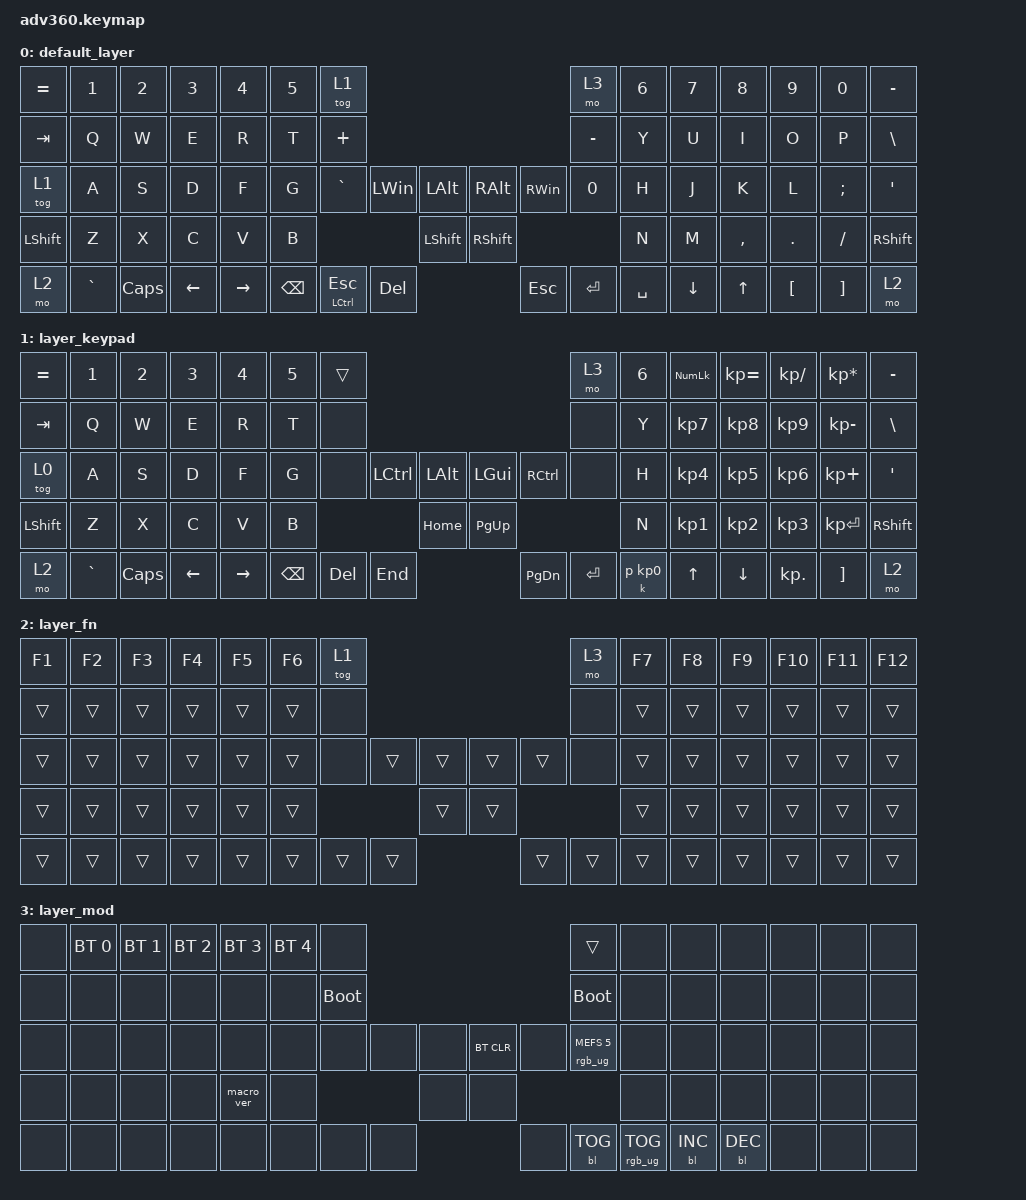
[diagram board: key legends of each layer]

/*
 * Copyright (c) 2020 The ZMK Contributors
 *
 * SPDX-License-Identifier: MIT
 */


/* THIS FILE WAS GENERATED!
 *
 * This file was generated automatically. You may or may not want to
 * edit it directly.
 */

// set syntax=dts

#include <behaviors.dtsi>
#include <dt-bindings/zmk/keys.h>
#include <dt-bindings/zmk/bt.h>
#include <dt-bindings/zmk/rgb.h>
#include <dt-bindings/zmk/backlight.h>

/ {
  behaviors {
    #include "macros.dtsi"
    #include "version.dtsi"

    hm: homerow_mods {
        compatible = "zmk,behavior-hold-tap";
        label = "HOMEROW_MODS";
        #binding-cells = <2>;
        tapping-term-ms = <200>;
        quick_tap_ms = <175>;
        flavor = "tap-preferred";
        bindings = <&kp>, <&kp>;
    };
  };

    keymap {
        compatible = "zmk,keymap";


        default_layer {
            bindings = <
        //|----------|----------|----------|----------|----------|----------|    |----------|                                                |----------|    |----------|----------|----------|----------|----------|----------|
        //|  =       |  1       |  2       |  3       |  4       |  5       |    |  keypad  |                                                |  MOD     |    |  6       |  7       |  8       |  9       |  0       |  -       |
           &kp EQUAL  &kp N1     &kp N2     &kp N3     &kp N4     &kp N5          &tog 1                                                      &mo 3           &kp N6     &kp N7     &kp N8     &kp N9     &kp N0     &kp MINUS
        //|----------|----------|----------|----------|----------|----------|    |----------|                                                |----------|    |----------|----------|----------|----------|----------|----------|
        //|  TAB     |  Q       |  W       |  E       |  R       |  T       |    |  +       |                                                |  -       |    |  Y       |  U       |  I       |  O       |  P       |  \       |
           &kp TAB    &kp Q      &kp W      &kp E      &kp R      &kp T           &kp PLUS                                                    &kp MINUS       &kp Y      &kp U      &kp I      &kp O      &kp P      &kp BSLH
        //|----------|----------|----------|----------|----------|----------|    |----------|----------|----------|    |----------|----------|----------|    |----------|----------|----------|----------|----------|----------|
        //|  keypad  |  A       |  S       |  D       |  F       |  G       |    |  ~       | Super    | Alt      |    |  Alt     |  Super   |  0       |    |  H       |  J       |  K       |  L       |  :       |  '       |
           &tog 1     &kp A      &kp S      &kp D      &kp F      &kp G           &kp GRAVE  &kp LWIN   &kp LALT        &kp RALT   &kp RWIN   &kp N0          &kp H      &kp J      &kp K      &kp L      &kp SEMI   &kp SQT
        //|----------|----------|----------|----------|----------|----------|    |----------|----------|----------|    |----------|----------|----------|    |----------|----------|----------|----------|----------|----------|
        //|  SHIFT   |  Z       |  X       |  C       |  V       |  B       |    |          |          | Shift    |    |  Shift   |          |          |    |  3       |  M       |  5       |  .       |  ?       |  SHIFT   |
           &kp LSHFT  &kp Z      &kp X      &kp C      &kp V      &kp B                                 &kp LSHIFT      &kp RSHIFT                            &kp N      &kp M      &kp COMMA  &kp DOT    &kp FSLH   &kp RSHFT
        //|----------|----------|----------|----------|----------|----------|    | Backspace| CTRL/ESC |----------|    |----------|  ENTER   | SPACE    |    |----------|----------|----------|----------|----------|----------|
        //|  fn      |  ~       |  CAPS    |  <-      |  ->      |               |          |          | Del      |    |  Esc     |          |          |               |  Down    |  UP      |  [       |  ]       |  FN      |
           &mo 2      &kp GRAVE  &kp CAPS   &kp LEFT   &kp RIGHT                  &kp BSPC   &mt LCTRL ESC &kp DEL      &kp ESC    &kp ENTER  &kp SPACE                  &kp DOWN   &kp UP     &kp LBKT   &kp RBKT   &mo 2
        //|----------|----------|----------|----------|----------|               |----------|----------|----------|    |----------|----------|----------|               |----------|----------|----------|----------|----------|
            >;
        };

        layer_keypad {
            bindings = <
           &kp EQUAL  &kp N1     &kp N2     &kp N3     &kp N4     &kp N5           &trans                                                      &mo 3           &kp N6     &kp KP_NUM &kp KP_EQUAL &kp KP_DIVIDE &kp KP_MULTIPLY  &kp MINUS
           &kp TAB    &kp Q      &kp W      &kp E      &kp R      &kp T            &none                                                                      &none   &kp Y   &kp KP_N7     &kp KP_N8      &kp KP_N9     &kp KP_MINUS   &kp BSLH
           &tog 0     &kp A      &kp S      &kp D      &kp F      &kp G            &none     &kp LCTRL  &kp LALT                   &kp LGUI  &kp RCTRL           &none   &kp H   &kp KP_N4     &kp KP_N5      &kp KP_N6      &kp KP_PLUS    &kp SQT
           &kp LSHFT  &kp Z      &kp X      &kp C      &kp V      &kp B                                 &kp HOME                  &kp PG_UP                              &kp N   &kp KP_N1     &kp KP_N2      &kp KP_N3     &kp KP_ENTER  &kp RSHFT
           &mo 2      &kp GRAVE  &kp CAPS   &kp LEFT   &kp RIGHT                   &kp BSPC    &kp DEL  &kp END                  &kp PG_DN  &kp ENTER  &k    p KP_N0              &kp UP      &kp DOWN     &kp KP_DOT         &kp RBKT      &mo 2
            >;
        };

        layer_fn {
            bindings = <
           &kp F1     &kp F2     &kp F3     &kp F4     &kp F5     &kp F6           &tog 1                                               &mo 3                 &kp F7     &kp F8     &kp F9     &kp F10    &kp F11    &kp F12
           &trans     &trans     &trans     &trans     &trans     &trans           &none                                                &none                 &trans     &trans     &trans     &trans     &trans     &trans
           &trans     &trans     &trans     &trans     &trans     &trans           &none     &trans     &trans          &trans  &trans  &none                 &trans     &trans     &trans     &trans     &trans     &trans
           &trans     &trans     &trans     &trans     &trans     &trans                                &trans          &trans                                &trans     &trans     &trans     &trans     &trans     &trans
           &trans     &trans     &trans     &trans     &trans                      &trans    &trans     &trans          &trans  &trans  &trans                &trans     &trans     &trans     &trans     &trans
            >;
        };

        layer_mod {
            bindings = <
           &none       &bt BT_SEL 0  &bt BT_SEL 1  &bt BT_SEL 2  &bt BT_SEL 3  &bt BT_SEL 4     &none                                             &trans                   &none       &none       &none   &none   &none   &none
           &none       &none         &none         &none         &none         &none            &bootloader                                       &bootloader              &none       &none       &none   &none   &none   &none
           &none       &none         &none         &none         &none         &none            &none   &none   &none     &bt BT_CLR  &none       &rgb_ug RGB_MEFS_CMD 5   &none       &none       &none   &none   &none   &none
           &none       &none         &none         &none         &macro_ver    &none                            &none     &none                                            &none       &none       &none   &none   &none   &none
           &none       &none         &none         &none         &none                          &none   &none   &none     &none       &bl BL_TOG  &rgb_ug RGB_TOG          &bl BL_INC  &bl BL_DEC  &none   &none   &none
            >;
        };

    };
};
